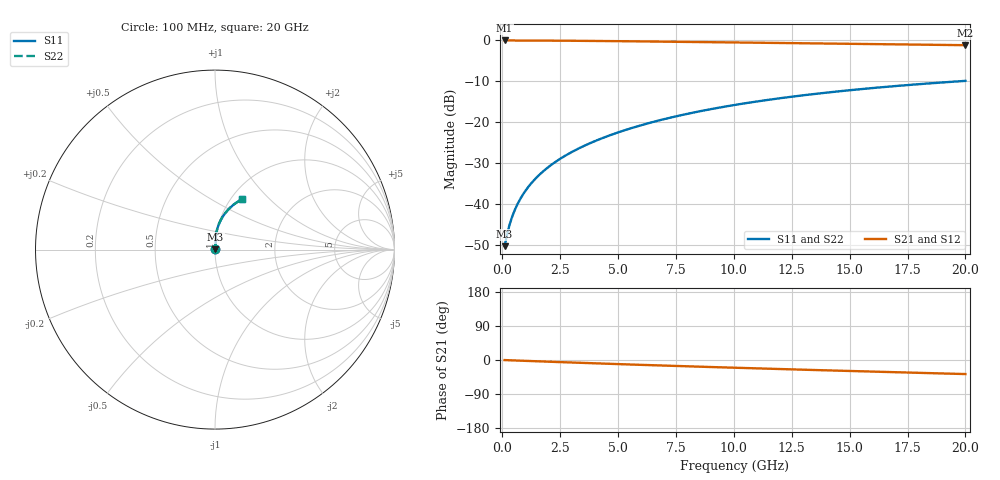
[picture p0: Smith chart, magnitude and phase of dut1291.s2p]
! Touchstone file exported from HFSS 2024.1.0
!  File:  C:/UserFiles/LocalFiles/RDL_TSV_Batchsim/temp_RDL_top_1291_1780242920.aedt
!  Generated:  11:57:27 PM May 31, 2026
!  Design:  RDL_top
!  Project:  temp_RDL_top_1291_1780242920
!  Setup:  Setup1
!  Solution:  Sweep
! Variables:
!  dtsv = 10.80580581um
!  hbump = 3um
!  htsv = 54.82um
!  ldown = 100um
!  lrdl = 544.4um
!  p = 40
!  p1 = 47.45um
!  rhole = 1um
!  t = 450um
!  tdown = 3.915915916um
!  trdl = 3.37um
!  wdown = 15.38538539um
!  wrdl = 24um
# GHz S MA R 50.000000
! Terminal data exported
! Port[1] = Box2_T1
! Port[2] = Box2_T2
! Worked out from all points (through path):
!   200 points, 100 MHz to 20 GHz, reference 50 ohm
!   highest |S21| = -0.02 dB at 100 MHz (marker M1); lowest = -1.2 dB at 20 GHz (marker M2)
!   group delay of S21, straight-line fit = 5.09 ps
!   lowest |S11| = -50.3 dB at 100 MHz (marker M3), VSWR 1.01, Z = 50.3 + j0.162 ohm
!   |S11| at or under -10 dB: start of sweep to 19.71 GHz
!   |S22| runs from -50.3 to -9.9 dB; largest |S21 - S12| = 3.9e-15
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0.1  0.00307 31.7  0.9974 -0.2  0.9974 -0.2  0.00307 31.7
! Gamma 0 0 0 0
! Port Impedance 50 0 50 0
0.2  0.004178 48.8  0.9972 -0.5  0.9972 -0.5  0.004178 48.8
0.3  0.005426 57.7  0.997 -0.7  0.997 -0.7  0.005426 57.7
0.4  0.006695 63.2  0.9968 -0.9  0.9968 -0.9  0.006695 63.2
0.5  0.007973 67.1  0.9966 -1.2  0.9966 -1.2  0.007972 67.1
0.6  0.009262 70.1  0.9965 -1.4  0.9965 -1.4  0.009262 70.1
0.8  0.01188 74.3  0.9961 -1.8  0.9961 -1.8  0.01188 74.3
1.1  0.01591 78.3  0.9955 -2.5  0.9955 -2.5  0.01591 78.3
1.3  0.01866 80.1  0.9951 -2.9  0.9951 -2.9  0.01866 80.1
1.6  0.02284 82.0  0.9943 -3.6  0.9943 -3.6  0.02284 82.0
2.1  0.02997 84.0  0.9927 -4.7  0.9927 -4.7  0.02997 84.1
2.7  0.03879 85.4  0.9904 -6.0  0.9904 -6.0  0.03879 85.4
3.5  0.05099 86.3  0.9866 -7.7  0.9866 -7.7  0.051 86.3
4.2  0.06208 86.5  0.9827 -9.2  0.9827 -9.2  0.0621 86.5
5  0.07517 86.2  0.9778 -10.8  0.9778 -10.8  0.0752 86.3
6.8  0.1059 84.5  0.9658 -14.4  0.9658 -14.4  0.1059 84.6
8.4  0.1339 82.2  0.9546 -17.4  0.9546 -17.4  0.134 82.3
10.1  0.1638 79.3  0.9426 -20.5  0.9426 -20.5  0.1639 79.4
11.7  0.1915 76.4  0.9313 -23.4  0.9313 -23.4  0.1917 76.5
13.4  0.2202 73.3  0.9193 -26.3  0.9193 -26.3  0.2204 73.3
16.7  0.2726 67.2  0.8962 -31.8  0.8962 -31.8  0.2729 67.3
20  0.3202 61.5  0.8732 -37.1  0.8732 -37.1  0.3206 61.5
